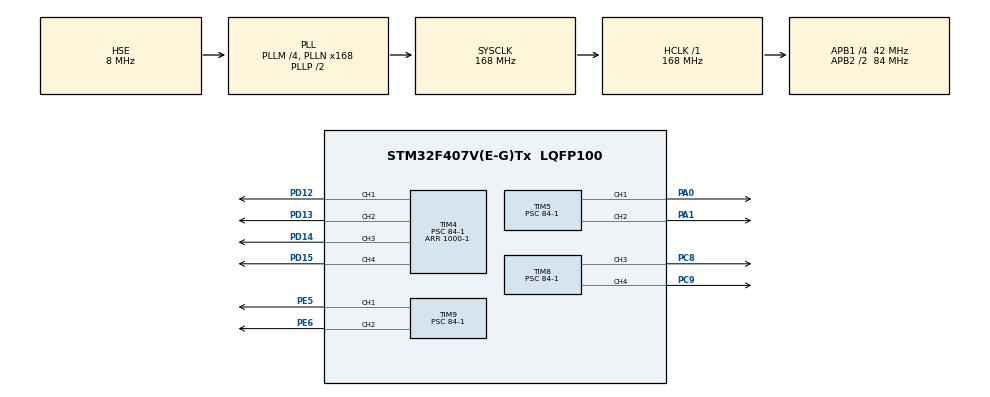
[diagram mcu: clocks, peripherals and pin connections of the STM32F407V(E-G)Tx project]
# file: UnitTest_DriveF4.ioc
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FREERTOS.Tasks01=driveTask,0,128,StartDriveTask,Default,NULL,Dynamic,NULL,NULL
FREERTOS.configUSE_NEWLIB_REENTRANT=1
Mcu.Family=STM32F4
Mcu.Name=STM32F407V(E-G)Tx
Mcu.Package=LQFP100
NVIC.PriorityGroup=NVIC_PRIORITYGROUP_4
NVIC.TIM8_TRG_COM_TIM14_IRQn=true\:15\:0\:false\:false\:true\:false\:false\:true\:true
NVIC.TimeBase=TIM8_TRG_COM_TIM14_IRQn
NVIC.TimeBaseIP=TIM14
PA0-WKUP.Signal=S_TIM5_CH1
PA1.Signal=S_TIM5_CH2
PA13.Mode=Serial_Wire
PA13.Signal=SYS_JTMS-SWDIO
PA14.Mode=Serial_Wire
PA14.Signal=SYS_JTCK-SWCLK
PC8.Signal=S_TIM8_CH3
PC9.Signal=S_TIM8_CH4
PD12.Signal=S_TIM4_CH1
PD13.Signal=S_TIM4_CH2
PD14.Signal=S_TIM4_CH3
PD15.Signal=S_TIM4_CH4
PE5.Signal=S_TIM9_CH1
PE6.Signal=S_TIM9_CH2
PH0-OSC_IN.Mode=HSE-External-Oscillator
PH0-OSC_IN.Signal=RCC_OSC_IN
PH1-OSC_OUT.Mode=HSE-External-Oscillator
PH1-OSC_OUT.Signal=RCC_OSC_OUT
ProjectManager.HeapSize=0x200
ProjectManager.StackSize=0x400
ProjectManager.TargetToolchain=STM32CubeIDE
RCC.48MHZClocksFreq_Value=84000000
RCC.AHBFreq_Value=168000000
RCC.APB1CLKDivider=RCC_HCLK_DIV4
RCC.APB1Freq_Value=42000000
RCC.APB1TimFreq_Value=84000000
RCC.APB2CLKDivider=RCC_HCLK_DIV2
RCC.APB2Freq_Value=84000000
RCC.APB2TimFreq_Value=168000000
RCC.CortexFreq_Value=168000000
RCC.HCLKFreq_Value=168000000
RCC.HSE_VALUE=8000000
RCC.HSI_VALUE=16000000
RCC.LSE_VALUE=32768
RCC.PLLM=4
RCC.PLLN=168
RCC.PLLSourceVirtual=RCC_PLLSOURCE_HSE
RCC.SYSCLKFreq_VALUE=168000000
RCC.SYSCLKSource=RCC_SYSCLKSOURCE_PLLCLK
RCC.VCOOutputFreq_Value=336000000
SH.S_TIM4_CH1.0=TIM4_CH1,PWM Generation1 CH1
SH.S_TIM4_CH2.0=TIM4_CH2,PWM Generation2 CH2
SH.S_TIM4_CH3.0=TIM4_CH3,PWM Generation3 CH3
SH.S_TIM4_CH4.0=TIM4_CH4,PWM Generation4 CH4
SH.S_TIM5_CH1.0=TIM5_CH1,PWM Generation1 CH1
SH.S_TIM5_CH2.0=TIM5_CH2,PWM Generation2 CH2
SH.S_TIM8_CH3.0=TIM8_CH3,Output Compare3 CH3
SH.S_TIM8_CH4.0=TIM8_CH4,PWM Generation4 CH4
SH.S_TIM9_CH1.0=TIM9_CH1,PWM Generation1 CH1
SH.S_TIM9_CH2.0=TIM9_CH2,PWM Generation2 CH2
TIM4.Channel-PWM\ Generation1\ CH1=TIM_CHANNEL_1
TIM4.Channel-PWM\ Generation2\ CH2=TIM_CHANNEL_2
TIM4.Channel-PWM\ Generation3\ CH3=TIM_CHANNEL_3
TIM4.Channel-PWM\ Generation4\ CH4=TIM_CHANNEL_4
TIM4.Period=1000-1
TIM4.Prescaler=84-1
TIM5.Channel-PWM\ Generation1\ CH1=TIM_CHANNEL_1
TIM5.Channel-PWM\ Generation2\ CH2=TIM_CHANNEL_2
TIM5.Period=1000-1
TIM5.Prescaler=84-1
TIM8.Channel-Output\ Compare3\ CH3=TIM_CHANNEL_3
TIM8.Channel-PWM\ Generation4\ CH4=TIM_CHANNEL_4
TIM8.Period=1000-1
TIM8.Prescaler=84-1
TIM9.Channel-PWM\ Generation1\ CH1=TIM_CHANNEL_1
TIM9.Channel-PWM\ Generation2\ CH2=TIM_CHANNEL_2
TIM9.Period=1000-1
TIM9.Prescaler=84-1
VP_FREERTOS_VS_CMSIS_V1.Mode=CMSIS_V1
VP_SYS_VS_tim14.Mode=TIM14
VP_TIM4_VS_ClockSourceINT.Mode=Internal
VP_TIM5_VS_ClockSourceINT.Mode=Internal
VP_TIM8_VS_ClockSourceINT.Mode=Internal
VP_TIM9_VS_ClockSourceINT.Mode=Internal
board=custom

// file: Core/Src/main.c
/* USER CODE BEGIN Header */
/**
  ******************************************************************************
  * @file           : main.c
  * @brief          : Main program body
  ******************************************************************************
  * @attention
  *
  * Copyright (c) 2023 STMicroelectronics.
  * All rights reserved.
  *
  * This software is licensed under terms that can be found in the LICENSE file
  * in the root directory of this software component.
  * If no LICENSE file comes with this software, it is provided AS-IS.
  *
  ******************************************************************************
  */
/* USER CODE END Header */
#include "main.h"
#include "cmsis_os.h"

/* USER CODE BEGIN Includes */
#include "DriveMotor.h"
#include "stdlib.h"
/* USER CODE END Includes */

TIM_HandleTypeDef htim4;
TIM_HandleTypeDef htim5;
TIM_HandleTypeDef htim8;
TIM_HandleTypeDef htim9;

osThreadId driveTaskHandle;
/* USER CODE BEGIN PV */
MotorDrive DC;
int16_t PWM1, PWM2, PWM3, PWM5, PWM6;
/* USER CODE END PV */

void SystemClock_Config(void);
static void MX_GPIO_Init(void);
static void MX_TIM4_Init(void);
static void MX_TIM5_Init(void);
static void MX_TIM8_Init(void);
static void MX_TIM9_Init(void);
void StartDriveTask(void const * argument);

int main(void)
{

  /* MCU Configuration--------------------------------------------------------*/

  /* Reset of all peripherals, Initializes the Flash interface and the Systick. */
  HAL_Init();

  /* Configure the system clock */
  SystemClock_Config();

  /* Initialize all configured peripherals */
  MX_GPIO_Init();
  MX_TIM4_Init();
  MX_TIM5_Init();
  MX_TIM8_Init();
  MX_TIM9_Init();
  /* USER CODE BEGIN 2 */
  HAL_TIM_PWM_Start(&htim4, TIM_CHANNEL_1);
  HAL_TIM_PWM_Start(&htim4, TIM_CHANNEL_2);
  HAL_TIM_PWM_Start(&htim4, TIM_CHANNEL_3);
  HAL_TIM_PWM_Start(&htim4, TIM_CHANNEL_4);

  HAL_TIM_PWM_Start(&htim5, TIM_CHANNEL_1);
  HAL_TIM_PWM_Start(&htim5, TIM_CHANNEL_2);

  HAL_TIM_PWM_Start(&htim8, TIM_CHANNEL_3);
  HAL_TIM_PWM_Start(&htim8, TIM_CHANNEL_4);

  HAL_TIM_PWM_Start(&htim9, TIM_CHANNEL_1);
  HAL_TIM_PWM_Start(&htim9, TIM_CHANNEL_2);

  /* USER CODE END 2 */

  /* Create the thread(s) */
  /* definition and creation of driveTask */
  osThreadDef(driveTask, StartDriveTask, osPriorityNormal, 0, 128);
  driveTaskHandle = osThreadCreate(osThread(driveTask), NULL);

  /* Start scheduler */
  osKernelStart();

  /* We should never get here as control is now taken by the scheduler */
  /* Infinite loop */
  while (1)
  {

  }
}

void SystemClock_Config(void)
{
  RCC_OscInitTypeDef RCC_OscInitStruct = {0};
  RCC_ClkInitTypeDef RCC_ClkInitStruct = {0};

  /** Configure the main internal regulator output voltage
  */
  __HAL_RCC_PWR_CLK_ENABLE();
  __HAL_PWR_VOLTAGESCALING_CONFIG(PWR_REGULATOR_VOLTAGE_SCALE1);

  /** Initializes the RCC Oscillators according to the specified parameters
  * in the RCC_OscInitTypeDef structure.
  */
  RCC_OscInitStruct.OscillatorType = RCC_OSCILLATORTYPE_HSE;
  RCC_OscInitStruct.HSEState = RCC_HSE_ON;
  RCC_OscInitStruct.PLL.PLLState = RCC_PLL_ON;
  RCC_OscInitStruct.PLL.PLLSource = RCC_PLLSOURCE_HSE;
  RCC_OscInitStruct.PLL.PLLM = 4;
  RCC_OscInitStruct.PLL.PLLN = 168;
  RCC_OscInitStruct.PLL.PLLP = RCC_PLLP_DIV2;
  RCC_OscInitStruct.PLL.PLLQ = 4;
  if (HAL_RCC_OscConfig(&RCC_OscInitStruct) != HAL_OK)
  {
    Error_Handler();
  }

  /** Initializes the CPU, AHB and APB buses clocks
  */
  RCC_ClkInitStruct.ClockType = RCC_CLOCKTYPE_HCLK|RCC_CLOCKTYPE_SYSCLK
                              |RCC_CLOCKTYPE_PCLK1|RCC_CLOCKTYPE_PCLK2;
  RCC_ClkInitStruct.SYSCLKSource = RCC_SYSCLKSOURCE_PLLCLK;
  RCC_ClkInitStruct.AHBCLKDivider = RCC_SYSCLK_DIV1;
  RCC_ClkInitStruct.APB1CLKDivider = RCC_HCLK_DIV4;
  RCC_ClkInitStruct.APB2CLKDivider = RCC_HCLK_DIV2;

  if (HAL_RCC_ClockConfig(&RCC_ClkInitStruct, FLASH_LATENCY_5) != HAL_OK)
  {
    Error_Handler();
  }
}

static void MX_TIM4_Init(void)
{

  TIM_ClockConfigTypeDef sClockSourceConfig = {0};
  TIM_MasterConfigTypeDef sMasterConfig = {0};
  TIM_OC_InitTypeDef sConfigOC = {0};

  htim4.Instance = TIM4;
  htim4.Init.Prescaler = 84-1;
  htim4.Init.CounterMode = TIM_COUNTERMODE_UP;
  htim4.Init.Period = 1000-1;
  htim4.Init.ClockDivision = TIM_CLOCKDIVISION_DIV1;
  htim4.Init.AutoReloadPreload = TIM_AUTORELOAD_PRELOAD_DISABLE;
  if (HAL_TIM_Base_Init(&htim4) != HAL_OK)
  {
    Error_Handler();
  }
  sClockSourceConfig.ClockSource = TIM_CLOCKSOURCE_INTERNAL;
  if (HAL_TIM_ConfigClockSource(&htim4, &sClockSourceConfig) != HAL_OK)
  {
    Error_Handler();
  }
  if (HAL_TIM_PWM_Init(&htim4) != HAL_OK)
  {
    Error_Handler();
  }
  sMasterConfig.MasterOutputTrigger = TIM_TRGO_RESET;
  sMasterConfig.MasterSlaveMode = TIM_MASTERSLAVEMODE_DISABLE;
  if (HAL_TIMEx_MasterConfigSynchronization(&htim4, &sMasterConfig) != HAL_OK)
  {
    Error_Handler();
  }
  sConfigOC.OCMode = TIM_OCMODE_PWM1;
  sConfigOC.Pulse = 0;
  sConfigOC.OCPolarity = TIM_OCPOLARITY_HIGH;
  sConfigOC.OCFastMode = TIM_OCFAST_DISABLE;
  if (HAL_TIM_PWM_ConfigChannel(&htim4, &sConfigOC, TIM_CHANNEL_1) != HAL_OK)
  {
    Error_Handler();
  }
  if (HAL_TIM_PWM_ConfigChannel(&htim4, &sConfigOC, TIM_CHANNEL_2) != HAL_OK)
  {
    Error_Handler();
  }
  if (HAL_TIM_PWM_ConfigChannel(&htim4, &sConfigOC, TIM_CHANNEL_3) != HAL_OK)
  {
    Error_Handler();
  }
  if (HAL_TIM_PWM_ConfigChannel(&htim4, &sConfigOC, TIM_CHANNEL_4) != HAL_OK)
  {
    Error_Handler();
  }
  HAL_TIM_MspPostInit(&htim4);

}

static void MX_TIM5_Init(void)
{

  TIM_ClockConfigTypeDef sClockSourceConfig = {0};
  TIM_MasterConfigTypeDef sMasterConfig = {0};
  TIM_OC_InitTypeDef sConfigOC = {0};

  htim5.Instance = TIM5;
  htim5.Init.Prescaler = 84-1;
  htim5.Init.CounterMode = TIM_COUNTERMODE_UP;
  htim5.Init.Period = 1000-1;
  htim5.Init.ClockDivision = TIM_CLOCKDIVISION_DIV1;
  htim5.Init.AutoReloadPreload = TIM_AUTORELOAD_PRELOAD_DISABLE;
  if (HAL_TIM_Base_Init(&htim5) != HAL_OK)
  {
    Error_Handler();
  }
  sClockSourceConfig.ClockSource = TIM_CLOCKSOURCE_INTERNAL;
  if (HAL_TIM_ConfigClockSource(&htim5, &sClockSourceConfig) != HAL_OK)
  {
    Error_Handler();
  }
  if (HAL_TIM_PWM_Init(&htim5) != HAL_OK)
  {
    Error_Handler();
  }
  sMasterConfig.MasterOutputTrigger = TIM_TRGO_RESET;
  sMasterConfig.MasterSlaveMode = TIM_MASTERSLAVEMODE_DISABLE;
  if (HAL_TIMEx_MasterConfigSynchronization(&htim5, &sMasterConfig) != HAL_OK)
  {
    Error_Handler();
  }
  sConfigOC.OCMode = TIM_OCMODE_PWM1;
  sConfigOC.Pulse = 0;
  sConfigOC.OCPolarity = TIM_OCPOLARITY_HIGH;
  sConfigOC.OCFastMode = TIM_OCFAST_DISABLE;
  if (HAL_TIM_PWM_ConfigChannel(&htim5, &sConfigOC, TIM_CHANNEL_1) != HAL_OK)
  {
    Error_Handler();
  }
  if (HAL_TIM_PWM_ConfigChannel(&htim5, &sConfigOC, TIM_CHANNEL_2) != HAL_OK)
  {
    Error_Handler();
  }
  HAL_TIM_MspPostInit(&htim5);

}

static void MX_TIM8_Init(void)
{

  TIM_ClockConfigTypeDef sClockSourceConfig = {0};
  TIM_MasterConfigTypeDef sMasterConfig = {0};
  TIM_OC_InitTypeDef sConfigOC = {0};
  TIM_BreakDeadTimeConfigTypeDef sBreakDeadTimeConfig = {0};

  htim8.Instance = TIM8;
  htim8.Init.Prescaler = 84-1;
  htim8.Init.CounterMode = TIM_COUNTERMODE_UP;
  htim8.Init.Period = 1000-1;
  htim8.Init.ClockDivision = TIM_CLOCKDIVISION_DIV1;
  htim8.Init.RepetitionCounter = 0;
  htim8.Init.AutoReloadPreload = TIM_AUTORELOAD_PRELOAD_DISABLE;
  if (HAL_TIM_Base_Init(&htim8) != HAL_OK)
  {
    Error_Handler();
  }
  sClockSourceConfig.ClockSource = TIM_CLOCKSOURCE_INTERNAL;
  if (HAL_TIM_ConfigClockSource(&htim8, &sClockSourceConfig) != HAL_OK)
  {
    Error_Handler();
  }
  if (HAL_TIM_OC_Init(&htim8) != HAL_OK)
  {
    Error_Handler();
  }
  if (HAL_TIM_PWM_Init(&htim8) != HAL_OK)
  {
    Error_Handler();
  }
  sMasterConfig.MasterOutputTrigger = TIM_TRGO_RESET;
  sMasterConfig.MasterSlaveMode = TIM_MASTERSLAVEMODE_DISABLE;
  if (HAL_TIMEx_MasterConfigSynchronization(&htim8, &sMasterConfig) != HAL_OK)
  {
    Error_Handler();
  }
  sConfigOC.OCMode = TIM_OCMODE_TIMING;
  sConfigOC.Pulse = 0;
  sConfigOC.OCPolarity = TIM_OCPOLARITY_HIGH;
  sConfigOC.OCNPolarity = TIM_OCNPOLARITY_HIGH;
  sConfigOC.OCFastMode = TIM_OCFAST_DISABLE;
  sConfigOC.OCIdleState = TIM_OCIDLESTATE_RESET;
  sConfigOC.OCNIdleState = TIM_OCNIDLESTATE_RESET;
  if (HAL_TIM_OC_ConfigChannel(&htim8, &sConfigOC, TIM_CHANNEL_3) != HAL_OK)
  {
    Error_Handler();
  }
  sConfigOC.OCMode = TIM_OCMODE_PWM1;
  if (HAL_TIM_PWM_ConfigChannel(&htim8, &sConfigOC, TIM_CHANNEL_4) != HAL_OK)
  {
    Error_Handler();
  }
  sBreakDeadTimeConfig.OffStateRunMode = TIM_OSSR_DISABLE;
  sBreakDeadTimeConfig.OffStateIDLEMode = TIM_OSSI_DISABLE;
  sBreakDeadTimeConfig.LockLevel = TIM_LOCKLEVEL_OFF;
  sBreakDeadTimeConfig.DeadTime = 0;
  sBreakDeadTimeConfig.BreakState = TIM_BREAK_DISABLE;
  sBreakDeadTimeConfig.BreakPolarity = TIM_BREAKPOLARITY_HIGH;
  sBreakDeadTimeConfig.AutomaticOutput = TIM_AUTOMATICOUTPUT_DISABLE;
  if (HAL_TIMEx_ConfigBreakDeadTime(&htim8, &sBreakDeadTimeConfig) != HAL_OK)
  {
    Error_Handler();
  }
  HAL_TIM_MspPostInit(&htim8);

}

static void MX_TIM9_Init(void)
{

  TIM_ClockConfigTypeDef sClockSourceConfig = {0};
  TIM_OC_InitTypeDef sConfigOC = {0};

  htim9.Instance = TIM9;
  htim9.Init.Prescaler = 84-1;
  htim9.Init.CounterMode = TIM_COUNTERMODE_UP;
  htim9.Init.Period = 1000-1;
  htim9.Init.ClockDivision = TIM_CLOCKDIVISION_DIV1;
  htim9.Init.AutoReloadPreload = TIM_AUTORELOAD_PRELOAD_DISABLE;
  if (HAL_TIM_Base_Init(&htim9) != HAL_OK)
  {
    Error_Handler();
  }
  sClockSourceConfig.ClockSource = TIM_CLOCKSOURCE_INTERNAL;
  if (HAL_TIM_ConfigClockSource(&htim9, &sClockSourceConfig) != HAL_OK)
  {
    Error_Handler();
  }
  if (HAL_TIM_PWM_Init(&htim9) != HAL_OK)
  {
    Error_Handler();
  }
  sConfigOC.OCMode = TIM_OCMODE_PWM1;
  sConfigOC.Pulse = 0;
  sConfigOC.OCPolarity = TIM_OCPOLARITY_HIGH;
  sConfigOC.OCFastMode = TIM_OCFAST_DISABLE;
  if (HAL_TIM_PWM_ConfigChannel(&htim9, &sConfigOC, TIM_CHANNEL_1) != HAL_OK)
  {
    Error_Handler();
  }
  if (HAL_TIM_PWM_ConfigChannel(&htim9, &sConfigOC, TIM_CHANNEL_2) != HAL_OK)
  {
    Error_Handler();
  }
  HAL_TIM_MspPostInit(&htim9);

}

static void MX_GPIO_Init(void)
{

  /* GPIO Ports Clock Enable */
  __HAL_RCC_GPIOE_CLK_ENABLE();
  __HAL_RCC_GPIOH_CLK_ENABLE();
  __HAL_RCC_GPIOA_CLK_ENABLE();
  __HAL_RCC_GPIOD_CLK_ENABLE();
  __HAL_RCC_GPIOC_CLK_ENABLE();

}

void StartDriveTask(void const * argument)
{
  /* USER CODE BEGIN 5 */
  /* Infinite loop */
  for(;;)
  {
	DC_Drive_BTS(&DC, &htim8, 1000, PWM1, TIM_CHANNEL_3, TIM_CHANNEL_4);
	DC_Drive_BTS(&DC, &htim4, 1000, PWM2, TIM_CHANNEL_3, TIM_CHANNEL_4);
	DC_Drive_BTS(&DC, &htim4, 1000, PWM3, TIM_CHANNEL_1, TIM_CHANNEL_2);
	DC_Drive_BTS(&DC, &htim5, 1000, PWM5, TIM_CHANNEL_1, TIM_CHANNEL_2);
	DC_Drive_BTS(&DC, &htim9, 1000, PWM6, TIM_CHANNEL_1, TIM_CHANNEL_2);
    osDelay(1);
  }
  /* USER CODE END 5 */
}

void HAL_TIM_PeriodElapsedCallback(TIM_HandleTypeDef *htim)
{
  if (htim->Instance == TIM14) {
    HAL_IncTick();
  }
}

void Error_Handler(void)
{
  __disable_irq();
  while (1)
  {
  }
}
